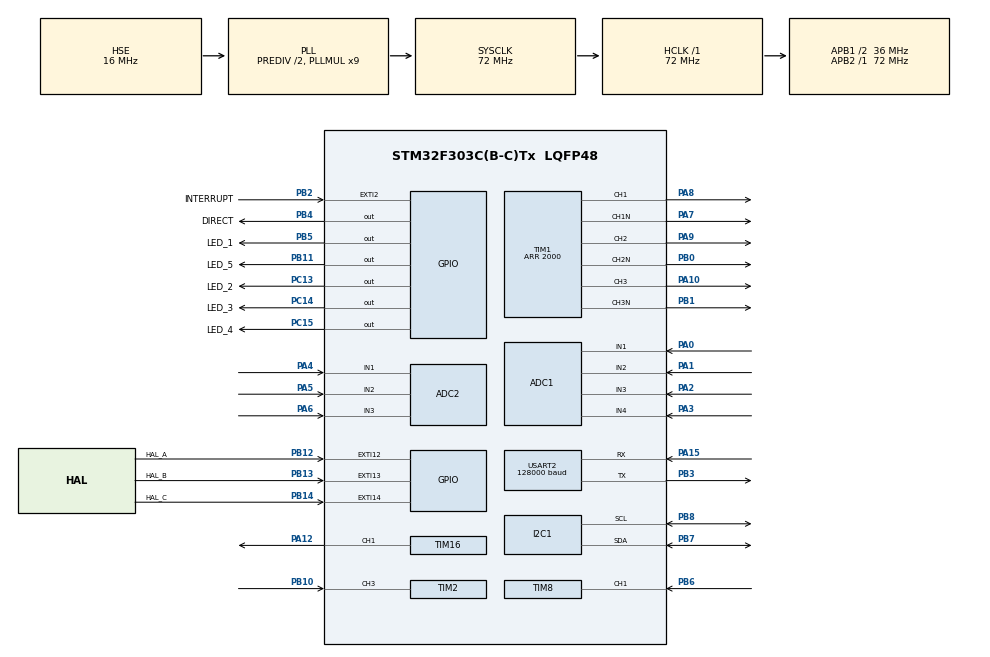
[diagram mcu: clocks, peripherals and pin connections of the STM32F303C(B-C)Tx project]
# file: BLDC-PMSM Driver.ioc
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ADC1.Channel-16\#ChannelRegularConversion=ADC_CHANNEL_1
ADC1.ClockPrescaler=ADC_CLOCK_SYNC_PCLK_DIV4
ADC1.ContinuousConvMode=DISABLE
ADC1.DMAContinuousRequests=DISABLE
ADC1.DiscontinuousConvMode=DISABLE
ADC1.EOCSelection=ADC_EOC_SINGLE_CONV
ADC1.EnableInjectedConversion=ENABLE
ADC1.EnableRegularConversion=ENABLE
ADC1.LowPowerAutoWait=DISABLE
ADC1.NbrOfConversion=1
ADC1.NbrOfConversionFlag=1
ADC1.Offset-16\#ChannelRegularConversion=0
ADC1.OffsetNumber-16\#ChannelRegularConversion=ADC_OFFSET_NONE
ADC1.Overrun=ADC_OVR_DATA_OVERWRITTEN
ADC1.Rank-16\#ChannelRegularConversion=1
ADC1.SamplingTime-16\#ChannelRegularConversion=ADC_SAMPLETIME_7CYCLES_5
ADC1.SamplingTimeOPAMP-16\#ChannelRegularConversion=ADC_SAMPLETIME_7CYCLES_5
ADC1.SequencerNbRanks=1
ADC1.master=1
ADC2.Channel-0\#ChannelRegularConversion=ADC_CHANNEL_1
ADC2.Channel-1\#ChannelRegularConversion=ADC_CHANNEL_2
ADC2.Channel-2\#ChannelRegularConversion=ADC_CHANNEL_3
ADC2.ClockPrescaler=ADC_CLOCK_SYNC_PCLK_DIV4
ADC2.ContinuousConvMode=ENABLE
ADC2.NbrOfConversion=3
ADC2.NbrOfConversionFlag=1
ADC2.Offset-0\#ChannelRegularConversion=0
ADC2.Offset-1\#ChannelRegularConversion=0
ADC2.Offset-2\#ChannelRegularConversion=0
ADC2.OffsetNumber-0\#ChannelRegularConversion=ADC_OFFSET_NONE
ADC2.OffsetNumber-1\#ChannelRegularConversion=ADC_OFFSET_NONE
ADC2.OffsetNumber-2\#ChannelRegularConversion=ADC_OFFSET_NONE
ADC2.Rank-0\#ChannelRegularConversion=1
ADC2.Rank-1\#ChannelRegularConversion=2
ADC2.Rank-2\#ChannelRegularConversion=3
ADC2.SamplingTime-0\#ChannelRegularConversion=ADC_SAMPLETIME_61CYCLES_5
ADC2.SamplingTime-1\#ChannelRegularConversion=ADC_SAMPLETIME_61CYCLES_5
ADC2.SamplingTime-2\#ChannelRegularConversion=ADC_SAMPLETIME_61CYCLES_5
ADC2.SamplingTimeOPAMP-1\#ChannelRegularConversion=ADC_SAMPLETIME_61CYCLES_5
ADC2.SamplingTimeOPAMP-2\#ChannelRegularConversion=ADC_SAMPLETIME_61CYCLES_5
ADC2.SequencerNbRanks=3
Dma.ADC2.0.Direction=DMA_PERIPH_TO_MEMORY
Dma.ADC2.0.Instance=DMA2_Channel1
Dma.ADC2.0.MemDataAlignment=DMA_MDATAALIGN_HALFWORD
Dma.ADC2.0.MemInc=DMA_MINC_ENABLE
Dma.ADC2.0.Mode=DMA_NORMAL
Dma.ADC2.0.PeriphDataAlignment=DMA_PDATAALIGN_HALFWORD
Dma.ADC2.0.PeriphInc=DMA_PINC_DISABLE
Dma.ADC2.0.Priority=DMA_PRIORITY_LOW
Dma.Request0=ADC2
Dma.Request1=USART2_RX
Dma.Request2=USART2_TX
Dma.USART2_RX.1.Direction=DMA_PERIPH_TO_MEMORY
Dma.USART2_RX.1.Instance=DMA1_Channel6
Dma.USART2_RX.1.MemDataAlignment=DMA_MDATAALIGN_BYTE
Dma.USART2_RX.1.MemInc=DMA_MINC_ENABLE
Dma.USART2_RX.1.Mode=DMA_NORMAL
Dma.USART2_RX.1.PeriphDataAlignment=DMA_PDATAALIGN_BYTE
Dma.USART2_RX.1.PeriphInc=DMA_PINC_DISABLE
Dma.USART2_RX.1.Priority=DMA_PRIORITY_HIGH
Dma.USART2_TX.2.Direction=DMA_MEMORY_TO_PERIPH
Dma.USART2_TX.2.Instance=DMA1_Channel7
Dma.USART2_TX.2.MemDataAlignment=DMA_MDATAALIGN_BYTE
Dma.USART2_TX.2.MemInc=DMA_MINC_ENABLE
Dma.USART2_TX.2.Mode=DMA_NORMAL
Dma.USART2_TX.2.PeriphDataAlignment=DMA_PDATAALIGN_BYTE
Dma.USART2_TX.2.PeriphInc=DMA_PINC_DISABLE
Dma.USART2_TX.2.Priority=DMA_PRIORITY_HIGH
Mcu.Family=STM32F3
Mcu.Name=STM32F303C(B-C)Tx
Mcu.Package=LQFP48
NVIC.DMA1_Channel6_IRQn=true\:6\:0\:true\:false\:true\:false\:true\:true
NVIC.DMA1_Channel7_IRQn=true\:2\:0\:true\:false\:true\:false\:true\:true
NVIC.DMA2_Channel1_IRQn=true\:0\:0\:false\:false\:true\:false\:true\:true
NVIC.EXTI15_10_IRQn=true\:0\:0\:false\:false\:true\:true\:true\:true
NVIC.EXTI2_TSC_IRQn=true\:0\:0\:false\:false\:true\:true\:true\:true
NVIC.PriorityGroup=NVIC_PRIORITYGROUP_4
NVIC.USART2_IRQn=true\:0\:0\:false\:false\:true\:true\:true\:true
PA0.Mode=IN1-Single-Ended
PA0.Signal=ADC1_IN1
PA1.Mode=IN2-Single-Ended
PA1.Signal=ADC1_IN2
PA10.Signal=S_TIM1_CH3
PA12.Signal=S_TIM16_CH1
PA13.Mode=Serial_Wire
PA13.Signal=SYS_JTMS-SWDIO
PA14.Mode=Serial_Wire
PA14.Signal=SYS_JTCK-SWCLK
PA15.Mode=Asynchronous
PA15.Signal=USART2_RX
PA2.Mode=IN3-Single-Ended
PA2.Signal=ADC1_IN3
PA3.Mode=IN4-Single-Ended
PA3.Signal=ADC1_IN4
PA4.Mode=IN1-Single-Ended
PA4.Signal=ADC2_IN1
PA5.Mode=IN2-Single-Ended
PA5.Signal=ADC2_IN2
PA6.Mode=IN3-Single-Ended
PA6.Signal=ADC2_IN3
PA7.Mode=PWM Generation1 CH1 CH1N
PA7.Signal=TIM1_CH1N
PA8.Signal=S_TIM1_CH1
PA9.Signal=S_TIM1_CH2
PB0.Mode=PWM Generation2 CH2 CH2N
PB0.Signal=TIM1_CH2N
PB1.Mode=PWM Generation3 CH3 CH3N
PB1.Signal=TIM1_CH3N
PB10.Signal=S_TIM2_CH3
PB11.GPIO_Label=LED_5
PB11.Signal=GPIO_Output
PB12.GPIO_Label=HAL_A
PB12.GPIO_ModeDefaultEXTI=GPIO_MODE_IT_RISING_FALLING
PB12.Signal=GPXTI12
PB13.GPIO_Label=HAL_B
PB13.GPIO_ModeDefaultEXTI=GPIO_MODE_IT_RISING_FALLING
PB13.Signal=GPXTI13
PB14.GPIO_Label=HAL_C
PB14.GPIO_ModeDefaultEXTI=GPIO_MODE_IT_RISING_FALLING
PB14.Signal=GPXTI14
PB2.GPIO_Label=INTERRUPT
PB2.GPIO_ModeDefaultEXTI=GPIO_MODE_IT_RISING_FALLING
PB2.Signal=GPXTI2
PB3.Mode=Asynchronous
PB3.Signal=USART2_TX
PB4.GPIO_Label=DIRECT
PB4.Signal=GPIO_Output
PB5.GPIO_Label=LED_1
PB5.Signal=GPIO_Output
PB6.Signal=S_TIM8_CH1
PB7.Mode=I2C
PB7.Signal=I2C1_SDA
PB8.Mode=I2C
PB8.Signal=I2C1_SCL
PC13.GPIO_Label=LED_2
PC13.Signal=GPIO_Output
PC14-OSC32_IN.GPIO_Label=LED_3
PC14-OSC32_IN.Signal=GPIO_Output
PC15-OSC32_OUT.GPIO_Label=LED_4
PC15-OSC32_OUT.Signal=GPIO_Output
PF0-OSC_IN.Mode=HSE-External-Oscillator
PF0-OSC_IN.Signal=RCC_OSC_IN
PF1-OSC_OUT.Mode=HSE-External-Oscillator
PF1-OSC_OUT.Signal=RCC_OSC_OUT
ProjectManager.HeapSize=0x200
ProjectManager.StackSize=0x400
ProjectManager.TargetToolchain=STM32CubeIDE
RCC.AHBFreq_Value=72000000
RCC.APB1CLKDivider=RCC_HCLK_DIV2
RCC.APB1Freq_Value=36000000
RCC.APB1TimFreq_Value=72000000
RCC.APB2Freq_Value=72000000
RCC.APB2TimFreq_Value=72000000
RCC.CortexFreq_Value=72000000
RCC.HCLKFreq_Value=72000000
RCC.HSE_VALUE=16000000
RCC.HSI_VALUE=8000000
RCC.LSE_VALUE=32768
RCC.PLLMUL=RCC_PLL_MUL9
RCC.PLLSourceVirtual=RCC_PLLSOURCE_HSE
RCC.RCC_PLLsource_Clock_Source_FROM_HSE=RCC_HSE_PREDIV_DIV2
RCC.SYSCLKFreq_VALUE=72000000
RCC.SYSCLKSourceVirtual=RCC_SYSCLKSOURCE_PLLCLK
RCC.USBFreq_Value=72000000
SH.S_TIM16_CH1.0=TIM16_CH1,PWM Generation1 CH1
SH.S_TIM1_CH1.0=TIM1_CH1,PWM Generation1 CH1 CH1N
SH.S_TIM1_CH2.0=TIM1_CH2,PWM Generation2 CH2 CH2N
SH.S_TIM1_CH3.0=TIM1_CH3,PWM Generation3 CH3 CH3N
SH.S_TIM2_CH3.0=TIM2_CH3,Input_Capture3_from_TI3
SH.S_TIM8_CH1.0=TIM8_CH1,Input_Capture1_from_TI1
TIM1.AutoReloadPreload=TIM_AUTORELOAD_PRELOAD_ENABLE
TIM1.Channel-PWM\ Generation1\ CH1\ CH1N=TIM_CHANNEL_1
TIM1.Channel-PWM\ Generation2\ CH2\ CH2N=TIM_CHANNEL_2
TIM1.Channel-PWM\ Generation3\ CH3\ CH3N=TIM_CHANNEL_3
TIM1.Period=2000
TIM1.Pulse-PWM\ Generation1\ CH1\ CH1N=1000
TIM1.Pulse-PWM\ Generation2\ CH2\ CH2N=1000
TIM1.Pulse-PWM\ Generation3\ CH3\ CH3N=1000
TIM16.AutoReloadPreload=TIM_AUTORELOAD_PRELOAD_ENABLE
TIM16.Channel=TIM_CHANNEL_1
TIM16.OCFastMode_PWM=TIM_OCFAST_ENABLE
TIM16.Period=1000
TIM16.Pulse=100
TIM2.Channel-Input_Capture3_from_TI3=TIM_CHANNEL_3
TIM2.Channel-Input_Capture4_from_TI3_63=TIM_CHANNEL_4
TIM2.ICPolarity_CH4=TIM_INPUTCHANNELPOLARITY_FALLING
TIM8.Channel-Input_Capture1_from_TI1=TIM_CHANNEL_1
TIM8.Channel-Input_Capture2_from_TI1_63=TIM_CHANNEL_2
TIM8.ICPolarity_CH2=TIM_INPUTCHANNELPOLARITY_FALLING
USART2.BaudRate=128000
USART2.VirtualMode-Asynchronous=VM_ASYNC
VP_ADC1_TempSens_Input.Mode=IN-TempSens
VP_ADC1_Vref_Input.Mode=IN-Vrefint
VP_TIM16_VS_ClockSourceINT.Mode=Enable_Timer
VP_TIM1_VS_ClockSourceINT.Mode=Internal
VP_TIM2_VS_ClockSourceINT.Mode=Internal
VP_TIM2_VS_indirect_ch3.Mode=Input_Capture4_from_TI3_63
VP_TIM8_VS_ClockSourceINT.Mode=Internal
VP_TIM8_VS_indirect_ch1.Mode=Input_Capture2_from_TI1_63
board=custom

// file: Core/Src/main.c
/* USER CODE BEGIN Header */
/**
  ******************************************************************************
  * @file           : main.c
  * @brief          : Main program body
  ******************************************************************************
  * @attention
  *
  * Copyright (c) 2024 STMicroelectronics.
  * All rights reserved.
  *
  * This software is licensed under terms that can be found in the LICENSE file
  * in the root directory of this software component.
  * If no LICENSE file comes with this software, it is provided AS-IS.
  *
  ******************************************************************************
  */
/* USER CODE END Header */
#include "main.h"

/* USER CODE BEGIN Includes */
#include "I2C_display.h"
#include "I2C_interface.h"
#include "modbusDevice.h"
#include "modbusSlave.h"
#include "ADC_1.h"
#include "Registers_handler.h"
#include "stdio.h"
#include "stdbool.h"
#include <stdint.h>
#include <stddef.h>
/* USER CODE END Includes */

ADC_HandleTypeDef hadc1;
ADC_HandleTypeDef hadc2;
DMA_HandleTypeDef hdma_adc2;

I2C_HandleTypeDef hi2c1;

TIM_HandleTypeDef htim1;
TIM_HandleTypeDef htim2;
TIM_HandleTypeDef htim8;
TIM_HandleTypeDef htim16;

UART_HandleTypeDef huart2;
DMA_HandleTypeDef hdma_usart2_rx;
DMA_HandleTypeDef hdma_usart2_tx;

/* USER CODE BEGIN PV */
bool BLDC_STATE[3] = {0,0,0};

int rpm=0;
bool flag=0;
 bool buttons_states[8];

 uint8_t adc_flag=0;

#define ADC_BUFFER_SIZE 64
#define RX_BUFFER_SIZE 64

#define USART_TIMEOUT 2000 // Таймаут в миллисекундах
 uint32_t lastActivityTime = 0;
 bool usartBusy = false;

uint16_t adc_buffer_1[ADC_BUFFER_SIZE];
uint32_t adc_values[6]={0, };

 uint8_t rxFrame[RX_BUFFER_SIZE];
 uint8_t txFrame[255];
 uint8_t SLAVE_ID=1;
 uint16_t data_reg[64]={0,};
 uint16_t rcv_data_reg[64]={0,};
/* USER CODE END PV */

void SystemClock_Config(void);
static void MX_GPIO_Init(void);
static void MX_DMA_Init(void);
static void MX_I2C1_Init(void);
static void MX_USART2_UART_Init(void);
static void MX_ADC1_Init(void);
static void MX_ADC2_Init(void);
static void MX_TIM1_Init(void);
static void MX_TIM16_Init(void);
static void MX_TIM2_Init(void);
static void MX_TIM8_Init(void);
/* USER CODE BEGIN PFP */
void Check_USART2_Timeout(void);
void Reset_USART2(void);
/* USER CODE END PFP */

/* USER CODE BEGIN 0 */
void Check_USART2_Timeout(void)
{
    if (HAL_GetTick() - lastActivityTime >= USART_TIMEOUT)
    {

        Reset_USART2();
    }
}

void Reset_USART2(void)
{
    // Остановите передачу и прием, если они активны
    HAL_UART_DMAStop(&huart2);
    HAL_DMA_Abort(&hdma_usart2_rx);
    HAL_DMA_Abort(&hdma_usart2_tx);

    // Отключите прерывания
    __HAL_UART_DISABLE_IT(&huart2, UART_IT_IDLE);
    __HAL_UART_DISABLE_IT(&huart2, UART_IT_TC);
    __HAL_UART_DISABLE_IT(&huart2, UART_IT_RXNE);

    // Сбросьте периферийный модуль USART2
    __HAL_RCC_USART2_FORCE_RESET();
    HAL_Delay(1); // Дождитесь завершения сброса
    __HAL_RCC_USART2_RELEASE_RESET();

    // �?нициализируйте периферийный модуль USART2 заново
   // HAL_UART_Init(&huart2);
    MX_DMA_Init();
    MX_USART2_UART_Init();
    // Настройте DMA и запустите прием
    HAL_UARTEx_ReceiveToIdle_DMA(&huart2, rxFrame, RX_BUFFER_SIZE);
    __HAL_UART_ENABLE_IT(&huart2, UART_IT_IDLE);
    __HAL_DMA_DISABLE_IT(&hdma_usart2_rx, DMA_IT_HT);

    // Обновление времени последней активности
    lastActivityTime = HAL_GetTick();

}

/* USER CODE END 0 */

int main(void)
{

  /* MCU Configuration--------------------------------------------------------*/

  /* Reset of all peripherals, Initializes the Flash interface and the Systick. */
  HAL_Init();

  /* Configure the system clock */
  SystemClock_Config();

  /* Initialize all configured peripherals */
  MX_GPIO_Init();
  MX_DMA_Init();
  MX_I2C1_Init();
  MX_USART2_UART_Init();
  MX_ADC1_Init();
  MX_ADC2_Init();
  MX_TIM1_Init();
  MX_TIM16_Init();
  MX_TIM2_Init();
  MX_TIM8_Init();
  /* USER CODE BEGIN 2 */

  TX_2;
  LED_1_ON;
 // LED_2_ON;
 // LED_3_ON;
 // LED_4_ON;
 // LED_5_ON;
  HAL_TIM_PWM_Start(&htim16, TIM_CHANNEL_1);

  lcd_init();
  lcd_clear();

         HAL_UARTEx_ReceiveToIdle_DMA(&huart2, rxFrame, RX_BUFFER_SIZE);
         __HAL_DMA_DISABLE_IT(&hdma_usart2_rx, DMA_IT_HT);

HAL_ADCEx_Calibration_Start(&hadc2, ADC_SINGLE_ENDED);
HAL_ADCEx_Calibration_Start(&hadc1, ADC_SINGLE_ENDED);
HAL_Delay(100);
RX_2;
     HAL_ADC_Start_DMA(&hadc2, (uint16_t*)adc_buffer_1,64);
  /* USER CODE END 2 */

  /* Infinite loop */
  /* USER CODE BEGIN WHILE */
  while (1)
  {
	  Check_USART2_Timeout();
	  if(adc_flag==1){

          MX_ADC1_Init();
		  Read_ADC_Values(adc_values, 6);
          Get_Buttons_States(buttons_states);
          data_reg[0]=170;
          data_reg[1]=63;
          data_reg[3]=31;
          data_reg[4]=25;
	  	         // lcd_set_cursor(1, 0);
	  	         // sprintf(int_to_str, "B1-%04d,B2-%04d ", adc_values[0],adc_values[1] );
	  	         // lcd_write_string(int_to_str);

                  IND_1_ON;
                  IND_2_ON;
                  IND_7_ON;

                  lcd_set_cursor(1, 0);
         	  	  sprintf(int_to_str, "%02X,%02X,%01X%01X,%01X,%01X,%04X", rxFrame[0],rxFrame[1],rxFrame[2],rxFrame[3],rxFrame[4] ,rxFrame[5],((rxFrame[6]<<8)|rxFrame[7]));
         	  	  lcd_write_string(int_to_str);

	  	          lcd_set_cursor(2, 0);
	  	          sprintf(int_to_str, "Vcc-%02.2f,B4-%04d ", adc_values[0]*0.166,adc_values[1] );
	  	          lcd_write_string(int_to_str);

	  	          lcd_set_cursor(3, 0);
	  	          sprintf(int_to_str, "B5-%04d,B6-%04d ", adc_values[4],adc_values[5] );
	  	          lcd_write_string(int_to_str);

	  	          lcd_set_cursor(4, 0);
	  	          sprintf(int_to_str, "B7-%04d,B8-%04d ", adc_buffer_1[0],adc_buffer_1[1] );
	  	          lcd_write_string(int_to_str);

	  	          adc_buffer_1[0]=0;
	  	          adc_buffer_1[1]=0;
	  	          adc_buffer_1[2]=0;
	  	          adc_buffer_1[3]=0;

 		          adc_flag=0;
	  		      HAL_ADC_Start_DMA(&hadc2, (uint16_t*)adc_buffer_1, 64);     }

    /* USER CODE END WHILE */

  }
}

void SystemClock_Config(void)
{
  RCC_OscInitTypeDef RCC_OscInitStruct = {0};
  RCC_ClkInitTypeDef RCC_ClkInitStruct = {0};
  RCC_PeriphCLKInitTypeDef PeriphClkInit = {0};

  /** Initializes the RCC Oscillators according to the specified parameters
  * in the RCC_OscInitTypeDef structure.
  */
  RCC_OscInitStruct.OscillatorType = RCC_OSCILLATORTYPE_HSI|RCC_OSCILLATORTYPE_HSE;
  RCC_OscInitStruct.HSEState = RCC_HSE_ON;
  RCC_OscInitStruct.HSEPredivValue = RCC_HSE_PREDIV_DIV2;
  RCC_OscInitStruct.HSIState = RCC_HSI_ON;
  RCC_OscInitStruct.HSICalibrationValue = RCC_HSICALIBRATION_DEFAULT;
  RCC_OscInitStruct.PLL.PLLState = RCC_PLL_ON;
  RCC_OscInitStruct.PLL.PLLSource = RCC_PLLSOURCE_HSE;
  RCC_OscInitStruct.PLL.PLLMUL = RCC_PLL_MUL9;
  if (HAL_RCC_OscConfig(&RCC_OscInitStruct) != HAL_OK)
  {
    Error_Handler();
  }

  /** Initializes the CPU, AHB and APB buses clocks
  */
  RCC_ClkInitStruct.ClockType = RCC_CLOCKTYPE_HCLK|RCC_CLOCKTYPE_SYSCLK
                              |RCC_CLOCKTYPE_PCLK1|RCC_CLOCKTYPE_PCLK2;
  RCC_ClkInitStruct.SYSCLKSource = RCC_SYSCLKSOURCE_PLLCLK;
  RCC_ClkInitStruct.AHBCLKDivider = RCC_SYSCLK_DIV1;
  RCC_ClkInitStruct.APB1CLKDivider = RCC_HCLK_DIV2;
  RCC_ClkInitStruct.APB2CLKDivider = RCC_HCLK_DIV1;

  if (HAL_RCC_ClockConfig(&RCC_ClkInitStruct, FLASH_LATENCY_2) != HAL_OK)
  {
    Error_Handler();
  }
  PeriphClkInit.PeriphClockSelection = RCC_PERIPHCLK_USART2|RCC_PERIPHCLK_I2C1
                              |RCC_PERIPHCLK_TIM1|RCC_PERIPHCLK_TIM8;
  PeriphClkInit.Usart2ClockSelection = RCC_USART2CLKSOURCE_PCLK1;
  PeriphClkInit.I2c1ClockSelection = RCC_I2C1CLKSOURCE_HSI;
  PeriphClkInit.Tim1ClockSelection = RCC_TIM1CLK_HCLK;
  PeriphClkInit.Tim8ClockSelection = RCC_TIM8CLK_HCLK;
  if (HAL_RCCEx_PeriphCLKConfig(&PeriphClkInit) != HAL_OK)
  {
    Error_Handler();
  }
}

static void MX_ADC1_Init(void)
{

  ADC_MultiModeTypeDef multimode = {0};
  ADC_ChannelConfTypeDef sConfig = {0};

  /** Common config
  */
  hadc1.Instance = ADC1;
  hadc1.Init.ClockPrescaler = ADC_CLOCK_SYNC_PCLK_DIV4;
  hadc1.Init.Resolution = ADC_RESOLUTION_12B;
  hadc1.Init.ScanConvMode = ADC_SCAN_DISABLE;
  hadc1.Init.ContinuousConvMode = DISABLE;
  hadc1.Init.DiscontinuousConvMode = DISABLE;
  hadc1.Init.ExternalTrigConvEdge = ADC_EXTERNALTRIGCONVEDGE_NONE;
  hadc1.Init.ExternalTrigConv = ADC_SOFTWARE_START;
  hadc1.Init.DataAlign = ADC_DATAALIGN_RIGHT;
  hadc1.Init.NbrOfConversion = 1;
  hadc1.Init.DMAContinuousRequests = DISABLE;
  hadc1.Init.EOCSelection = ADC_EOC_SINGLE_CONV;
  hadc1.Init.LowPowerAutoWait = DISABLE;
  hadc1.Init.Overrun = ADC_OVR_DATA_OVERWRITTEN;
  if (HAL_ADC_Init(&hadc1) != HAL_OK)
  {
    Error_Handler();
  }

  /** Configure the ADC multi-mode
  */
  multimode.Mode = ADC_MODE_INDEPENDENT;
  if (HAL_ADCEx_MultiModeConfigChannel(&hadc1, &multimode) != HAL_OK)
  {
    Error_Handler();
  }

  /** Configure Regular Channel
  */
  sConfig.Channel = ADC_CHANNEL_1;
  sConfig.Rank = ADC_REGULAR_RANK_1;
  sConfig.SingleDiff = ADC_SINGLE_ENDED;
  sConfig.SamplingTime = ADC_SAMPLETIME_7CYCLES_5;
  sConfig.OffsetNumber = ADC_OFFSET_NONE;
  sConfig.Offset = 0;
  if (HAL_ADC_ConfigChannel(&hadc1, &sConfig) != HAL_OK)
  {
    Error_Handler();
  }

}

static void MX_ADC2_Init(void)
{

  ADC_ChannelConfTypeDef sConfig = {0};

  /** Common config
  */
  hadc2.Instance = ADC2;
  hadc2.Init.ClockPrescaler = ADC_CLOCK_SYNC_PCLK_DIV4;
  hadc2.Init.Resolution = ADC_RESOLUTION_12B;
  hadc2.Init.ScanConvMode = ADC_SCAN_ENABLE;
  hadc2.Init.ContinuousConvMode = ENABLE;
  hadc2.Init.DiscontinuousConvMode = DISABLE;
  hadc2.Init.ExternalTrigConvEdge = ADC_EXTERNALTRIGCONVEDGE_NONE;
  hadc2.Init.ExternalTrigConv = ADC_SOFTWARE_START;
  hadc2.Init.DataAlign = ADC_DATAALIGN_RIGHT;
  hadc2.Init.NbrOfConversion = 3;
  hadc2.Init.DMAContinuousRequests = DISABLE;
  hadc2.Init.EOCSelection = ADC_EOC_SINGLE_CONV;
  hadc2.Init.LowPowerAutoWait = DISABLE;
  hadc2.Init.Overrun = ADC_OVR_DATA_OVERWRITTEN;
  if (HAL_ADC_Init(&hadc2) != HAL_OK)
  {
    Error_Handler();
  }

  /** Configure Regular Channel
  */
  sConfig.Channel = ADC_CHANNEL_1;
  sConfig.Rank = ADC_REGULAR_RANK_1;
  sConfig.SingleDiff = ADC_SINGLE_ENDED;
  sConfig.SamplingTime = ADC_SAMPLETIME_61CYCLES_5;
  sConfig.OffsetNumber = ADC_OFFSET_NONE;
  sConfig.Offset = 0;
  if (HAL_ADC_ConfigChannel(&hadc2, &sConfig) != HAL_OK)
  {
    Error_Handler();
  }

  /** Configure Regular Channel
  */
  sConfig.Channel = ADC_CHANNEL_2;
  sConfig.Rank = ADC_REGULAR_RANK_2;
  if (HAL_ADC_ConfigChannel(&hadc2, &sConfig) != HAL_OK)
  {
    Error_Handler();
  }

  /** Configure Regular Channel
  */
  sConfig.Channel = ADC_CHANNEL_3;
  sConfig.Rank = ADC_REGULAR_RANK_3;
  if (HAL_ADC_ConfigChannel(&hadc2, &sConfig) != HAL_OK)
  {
    Error_Handler();
  }

}

static void MX_I2C1_Init(void)
{

  hi2c1.Instance = I2C1;
  hi2c1.Init.Timing = 0x2000090E;
  hi2c1.Init.OwnAddress1 = 0;
  hi2c1.Init.AddressingMode = I2C_ADDRESSINGMODE_7BIT;
  hi2c1.Init.DualAddressMode = I2C_DUALADDRESS_DISABLE;
  hi2c1.Init.OwnAddress2 = 0;
  hi2c1.Init.OwnAddress2Masks = I2C_OA2_NOMASK;
  hi2c1.Init.GeneralCallMode = I2C_GENERALCALL_DISABLE;
  hi2c1.Init.NoStretchMode = I2C_NOSTRETCH_DISABLE;
  if (HAL_I2C_Init(&hi2c1) != HAL_OK)
  {
    Error_Handler();
  }

  /** Configure Analogue filter
  */
  if (HAL_I2CEx_ConfigAnalogFilter(&hi2c1, I2C_ANALOGFILTER_ENABLE) != HAL_OK)
  {
    Error_Handler();
  }

  /** Configure Digital filter
  */
  if (HAL_I2CEx_ConfigDigitalFilter(&hi2c1, 0) != HAL_OK)
  {
    Error_Handler();
  }

}

static void MX_TIM1_Init(void)
{

  TIM_ClockConfigTypeDef sClockSourceConfig = {0};
  TIM_MasterConfigTypeDef sMasterConfig = {0};
  TIM_OC_InitTypeDef sConfigOC = {0};
  TIM_BreakDeadTimeConfigTypeDef sBreakDeadTimeConfig = {0};

  htim1.Instance = TIM1;
  htim1.Init.Prescaler = 0;
  htim1.Init.CounterMode = TIM_COUNTERMODE_UP;
  htim1.Init.Period = 2000;
  htim1.Init.ClockDivision = TIM_CLOCKDIVISION_DIV1;
  htim1.Init.RepetitionCounter = 0;
  htim1.Init.AutoReloadPreload = TIM_AUTORELOAD_PRELOAD_ENABLE;
  if (HAL_TIM_Base_Init(&htim1) != HAL_OK)
  {
    Error_Handler();
  }
  sClockSourceConfig.ClockSource = TIM_CLOCKSOURCE_INTERNAL;
  if (HAL_TIM_ConfigClockSource(&htim1, &sClockSourceConfig) != HAL_OK)
  {
    Error_Handler();
  }
  if (HAL_TIM_PWM_Init(&htim1) != HAL_OK)
  {
    Error_Handler();
  }
  sMasterConfig.MasterOutputTrigger = TIM_TRGO_RESET;
  sMasterConfig.MasterOutputTrigger2 = TIM_TRGO2_RESET;
  sMasterConfig.MasterSlaveMode = TIM_MASTERSLAVEMODE_DISABLE;
  if (HAL_TIMEx_MasterConfigSynchronization(&htim1, &sMasterConfig) != HAL_OK)
  {
    Error_Handler();
  }
  sConfigOC.OCMode = TIM_OCMODE_PWM1;
  sConfigOC.Pulse = 1000;
  sConfigOC.OCPolarity = TIM_OCPOLARITY_HIGH;
  sConfigOC.OCNPolarity = TIM_OCNPOLARITY_HIGH;
  sConfigOC.OCFastMode = TIM_OCFAST_DISABLE;
  sConfigOC.OCIdleState = TIM_OCIDLESTATE_RESET;
  sConfigOC.OCNIdleState = TIM_OCNIDLESTATE_RESET;
  if (HAL_TIM_PWM_ConfigChannel(&htim1, &sConfigOC, TIM_CHANNEL_1) != HAL_OK)
  {
    Error_Handler();
  }
  if (HAL_TIM_PWM_ConfigChannel(&htim1, &sConfigOC, TIM_CHANNEL_2) != HAL_OK)
  {
    Error_Handler();
  }
  if (HAL_TIM_PWM_ConfigChannel(&htim1, &sConfigOC, TIM_CHANNEL_3) != HAL_OK)
  {
    Error_Handler();
  }
  sBreakDeadTimeConfig.OffStateRunMode = TIM_OSSR_DISABLE;
  sBreakDeadTimeConfig.OffStateIDLEMode = TIM_OSSI_DISABLE;
  sBreakDeadTimeConfig.LockLevel = TIM_LOCKLEVEL_OFF;
  sBreakDeadTimeConfig.DeadTime = 0;
  sBreakDeadTimeConfig.BreakState = TIM_BREAK_DISABLE;
  sBreakDeadTimeConfig.BreakPolarity = TIM_BREAKPOLARITY_HIGH;
  sBreakDeadTimeConfig.BreakFilter = 0;
  sBreakDeadTimeConfig.Break2State = TIM_BREAK2_DISABLE;
  sBreakDeadTimeConfig.Break2Polarity = TIM_BREAK2POLARITY_HIGH;
  sBreakDeadTimeConfig.Break2Filter = 0;
  sBreakDeadTimeConfig.AutomaticOutput = TIM_AUTOMATICOUTPUT_DISABLE;
  if (HAL_TIMEx_ConfigBreakDeadTime(&htim1, &sBreakDeadTimeConfig) != HAL_OK)
  {
    Error_Handler();
  }
  HAL_TIM_MspPostInit(&htim1);

}

static void MX_TIM2_Init(void)
{

  TIM_ClockConfigTypeDef sClockSourceConfig = {0};
  TIM_MasterConfigTypeDef sMasterConfig = {0};
  TIM_IC_InitTypeDef sConfigIC = {0};

  htim2.Instance = TIM2;
  htim2.Init.Prescaler = 0;
  htim2.Init.CounterMode = TIM_COUNTERMODE_UP;
  htim2.Init.Period = 4294967295;
  htim2.Init.ClockDivision = TIM_CLOCKDIVISION_DIV1;
  htim2.Init.AutoReloadPreload = TIM_AUTORELOAD_PRELOAD_DISABLE;
  if (HAL_TIM_Base_Init(&htim2) != HAL_OK)
  {
    Error_Handler();
  }
  sClockSourceConfig.ClockSource = TIM_CLOCKSOURCE_INTERNAL;
  if (HAL_TIM_ConfigClockSource(&htim2, &sClockSourceConfig) != HAL_OK)
  {
    Error_Handler();
  }
  if (HAL_TIM_IC_Init(&htim2) != HAL_OK)
  {
    Error_Handler();
  }
  sMasterConfig.MasterOutputTrigger = TIM_TRGO_RESET;
  sMasterConfig.MasterSlaveMode = TIM_MASTERSLAVEMODE_DISABLE;
  if (HAL_TIMEx_MasterConfigSynchronization(&htim2, &sMasterConfig) != HAL_OK)
  {
    Error_Handler();
  }
  sConfigIC.ICPolarity = TIM_INPUTCHANNELPOLARITY_RISING;
  sConfigIC.ICSelection = TIM_ICSELECTION_DIRECTTI;
  sConfigIC.ICPrescaler = TIM_ICPSC_DIV1;
  sConfigIC.ICFilter = 0;
  if (HAL_TIM_IC_ConfigChannel(&htim2, &sConfigIC, TIM_CHANNEL_3) != HAL_OK)
  {
    Error_Handler();
  }
  sConfigIC.ICPolarity = TIM_INPUTCHANNELPOLARITY_FALLING;
  sConfigIC.ICSelection = TIM_ICSELECTION_INDIRECTTI;
  if (HAL_TIM_IC_ConfigChannel(&htim2, &sConfigIC, TIM_CHANNEL_4) != HAL_OK)
  {
    Error_Handler();
  }

}

static void MX_TIM8_Init(void)
{

  TIM_ClockConfigTypeDef sClockSourceConfig = {0};
  TIM_MasterConfigTypeDef sMasterConfig = {0};
  TIM_IC_InitTypeDef sConfigIC = {0};

  htim8.Instance = TIM8;
  htim8.Init.Prescaler = 0;
  htim8.Init.CounterMode = TIM_COUNTERMODE_UP;
  htim8.Init.Period = 65535;
  htim8.Init.ClockDivision = TIM_CLOCKDIVISION_DIV1;
  htim8.Init.RepetitionCounter = 0;
  htim8.Init.AutoReloadPreload = TIM_AUTORELOAD_PRELOAD_DISABLE;
  if (HAL_TIM_Base_Init(&htim8) != HAL_OK)
  {
    Error_Handler();
  }
  sClockSourceConfig.ClockSource = TIM_CLOCKSOURCE_INTERNAL;
  if (HAL_TIM_ConfigClockSource(&htim8, &sClockSourceConfig) != HAL_OK)
  {
    Error_Handler();
  }
  if (HAL_TIM_IC_Init(&htim8) != HAL_OK)
  {
    Error_Handler();
  }
  sMasterConfig.MasterOutputTrigger = TIM_TRGO_RESET;
  sMasterConfig.MasterOutputTrigger2 = TIM_TRGO2_RESET;
  sMasterConfig.MasterSlaveMode = TIM_MASTERSLAVEMODE_DISABLE;
  if (HAL_TIMEx_MasterConfigSynchronization(&htim8, &sMasterConfig) != HAL_OK)
  {
    Error_Handler();
  }
  sConfigIC.ICPolarity = TIM_INPUTCHANNELPOLARITY_RISING;
  sConfigIC.ICSelection = TIM_ICSELECTION_DIRECTTI;
  sConfigIC.ICPrescaler = TIM_ICPSC_DIV1;
  sConfigIC.ICFilter = 0;
  if (HAL_TIM_IC_ConfigChannel(&htim8, &sConfigIC, TIM_CHANNEL_1) != HAL_OK)
  {
    Error_Handler();
  }
  sConfigIC.ICPolarity = TIM_INPUTCHANNELPOLARITY_FALLING;
  sConfigIC.ICSelection = TIM_ICSELECTION_INDIRECTTI;
  if (HAL_TIM_IC_ConfigChannel(&htim8, &sConfigIC, TIM_CHANNEL_2) != HAL_OK)
  {
    Error_Handler();
  }

}

static void MX_TIM16_Init(void)
{

  TIM_OC_InitTypeDef sConfigOC = {0};
  TIM_BreakDeadTimeConfigTypeDef sBreakDeadTimeConfig = {0};

  htim16.Instance = TIM16;
  htim16.Init.Prescaler = 0;
  htim16.Init.CounterMode = TIM_COUNTERMODE_UP;
  htim16.Init.Period = 1000;
  htim16.Init.ClockDivision = TIM_CLOCKDIVISION_DIV1;
  htim16.Init.RepetitionCounter = 0;
  htim16.Init.AutoReloadPreload = TIM_AUTORELOAD_PRELOAD_ENABLE;
  if (HAL_TIM_Base_Init(&htim16) != HAL_OK)
  {
    Error_Handler();
  }
  if (HAL_TIM_PWM_Init(&htim16) != HAL_OK)
  {
    Error_Handler();
  }
  sConfigOC.OCMode = TIM_OCMODE_PWM1;
  sConfigOC.Pulse = 100;
  sConfigOC.OCPolarity = TIM_OCPOLARITY_HIGH;
  sConfigOC.OCNPolarity = TIM_OCNPOLARITY_HIGH;
  sConfigOC.OCFastMode = TIM_OCFAST_ENABLE;
  sConfigOC.OCIdleState = TIM_OCIDLESTATE_RESET;
  sConfigOC.OCNIdleState = TIM_OCNIDLESTATE_RESET;
  if (HAL_TIM_PWM_ConfigChannel(&htim16, &sConfigOC, TIM_CHANNEL_1) != HAL_OK)
  {
    Error_Handler();
  }
  sBreakDeadTimeConfig.OffStateRunMode = TIM_OSSR_DISABLE;
  sBreakDeadTimeConfig.OffStateIDLEMode = TIM_OSSI_DISABLE;
  sBreakDeadTimeConfig.LockLevel = TIM_LOCKLEVEL_OFF;
  sBreakDeadTimeConfig.DeadTime = 0;
  sBreakDeadTimeConfig.BreakState = TIM_BREAK_DISABLE;
  sBreakDeadTimeConfig.BreakPolarity = TIM_BREAKPOLARITY_HIGH;
  sBreakDeadTimeConfig.BreakFilter = 0;
  sBreakDeadTimeConfig.AutomaticOutput = TIM_AUTOMATICOUTPUT_DISABLE;
  if (HAL_TIMEx_ConfigBreakDeadTime(&htim16, &sBreakDeadTimeConfig) != HAL_OK)
  {
    Error_Handler();
  }
  HAL_TIM_MspPostInit(&htim16);

}

static void MX_USART2_UART_Init(void)
{

  huart2.Instance = USART2;
  huart2.Init.BaudRate = 128000;
  huart2.Init.WordLength = UART_WORDLENGTH_8B;
  huart2.Init.StopBits = UART_STOPBITS_1;
  huart2.Init.Parity = UART_PARITY_NONE;
  huart2.Init.Mode = UART_MODE_TX_RX;
  huart2.Init.HwFlowCtl = UART_HWCONTROL_NONE;
  huart2.Init.OverSampling = UART_OVERSAMPLING_16;
  huart2.Init.OneBitSampling = UART_ONE_BIT_SAMPLE_DISABLE;
  huart2.AdvancedInit.AdvFeatureInit = UART_ADVFEATURE_NO_INIT;
  if (HAL_UART_Init(&huart2) != HAL_OK)
  {
    Error_Handler();
  }

}

static void MX_DMA_Init(void)
{

  /* DMA controller clock enable */
  __HAL_RCC_DMA2_CLK_ENABLE();
  __HAL_RCC_DMA1_CLK_ENABLE();

  /* DMA interrupt init */
  /* DMA1_Channel6_IRQn interrupt configuration */
  HAL_NVIC_SetPriority(DMA1_Channel6_IRQn, 6, 0);
  HAL_NVIC_EnableIRQ(DMA1_Channel6_IRQn);
  /* DMA1_Channel7_IRQn interrupt configuration */
  HAL_NVIC_SetPriority(DMA1_Channel7_IRQn, 2, 0);
  HAL_NVIC_EnableIRQ(DMA1_Channel7_IRQn);
  /* DMA2_Channel1_IRQn interrupt configuration */
  HAL_NVIC_SetPriority(DMA2_Channel1_IRQn, 0, 0);
  HAL_NVIC_EnableIRQ(DMA2_Channel1_IRQn);

}

static void MX_GPIO_Init(void)
{
  GPIO_InitTypeDef GPIO_InitStruct = {0};

  /* GPIO Ports Clock Enable */
  __HAL_RCC_GPIOC_CLK_ENABLE();
  __HAL_RCC_GPIOF_CLK_ENABLE();
  __HAL_RCC_GPIOA_CLK_ENABLE();
  __HAL_RCC_GPIOB_CLK_ENABLE();

  /*Configure GPIO pin Output Level */
  HAL_GPIO_WritePin(GPIOC, LED_2_Pin|LED_3_Pin|LED_4_Pin, GPIO_PIN_RESET);

  /*Configure GPIO pin Output Level */
  HAL_GPIO_WritePin(GPIOB, LED_5_Pin|DIRECT_Pin|LED_1_Pin, GPIO_PIN_RESET);

  /*Configure GPIO pins : LED_2_Pin LED_3_Pin LED_4_Pin */
  GPIO_InitStruct.Pin = LED_2_Pin|LED_3_Pin|LED_4_Pin;
  GPIO_InitStruct.Mode = GPIO_MODE_OUTPUT_PP;
  GPIO_InitStruct.Pull = GPIO_NOPULL;
  GPIO_InitStruct.Speed = GPIO_SPEED_FREQ_LOW;
  HAL_GPIO_Init(GPIOC, &GPIO_InitStruct);

  /*Configure GPIO pins : INTERRUPT_Pin HAL_A_Pin HAL_B_Pin HAL_C_Pin */
  GPIO_InitStruct.Pin = INTERRUPT_Pin|HAL_A_Pin|HAL_B_Pin|HAL_C_Pin;
  GPIO_InitStruct.Mode = GPIO_MODE_IT_RISING_FALLING;
  GPIO_InitStruct.Pull = GPIO_NOPULL;
  HAL_GPIO_Init(GPIOB, &GPIO_InitStruct);

  /*Configure GPIO pins : LED_5_Pin DIRECT_Pin LED_1_Pin */
  GPIO_InitStruct.Pin = LED_5_Pin|DIRECT_Pin|LED_1_Pin;
  GPIO_InitStruct.Mode = GPIO_MODE_OUTPUT_PP;
  GPIO_InitStruct.Pull = GPIO_NOPULL;
  GPIO_InitStruct.Speed = GPIO_SPEED_FREQ_LOW;
  HAL_GPIO_Init(GPIOB, &GPIO_InitStruct);

  /* EXTI interrupt init*/
  HAL_NVIC_SetPriority(EXTI2_TSC_IRQn, 0, 0);
  HAL_NVIC_EnableIRQ(EXTI2_TSC_IRQn);

  HAL_NVIC_SetPriority(EXTI15_10_IRQn, 0, 0);
  HAL_NVIC_EnableIRQ(EXTI15_10_IRQn);

}

/* USER CODE BEGIN 4 */

void HAL_GPIO_EXTI_Callback(uint16_t GPIO_Pin)
{
	if(GPIO_Pin == GPIO_PIN_12) // если прерывание поступило от ножки PA1
	   {
		if (GPIO_PIN_SET == HAL_GPIO_ReadPin (GPIOB, GPIO_PIN_12)){

				   LED_1_ON;
				   BLDC_STATE[0]=0;
				   BLDC_MotorCommutation(SWITCH(BLDC_STATE));
			   }

		     if (GPIO_PIN_RESET == HAL_GPIO_ReadPin (GPIOB, GPIO_PIN_12)){
		           LED_1_OFF;
		    	   BLDC_STATE[0]=1;
		    	   BLDC_MotorCommutation(SWITCH(BLDC_STATE));}
		         //  EXTI->PR = EXTI_PR_PR12;

	   }

   if(GPIO_Pin == GPIO_PIN_13) // если прерывание поступило от ножки PC13
   {

	   if (GPIO_PIN_SET == HAL_GPIO_ReadPin (GPIOB, GPIO_PIN_13)){
              LED_2_ON;
	      	  BLDC_STATE[1]=0;
	      	  BLDC_MotorCommutation(SWITCH(BLDC_STATE));}

       if (GPIO_PIN_RESET == HAL_GPIO_ReadPin (GPIOB, GPIO_PIN_13)){
              LED_2_OFF;
    	      BLDC_STATE[1]=1;
    	      BLDC_MotorCommutation(SWITCH(BLDC_STATE)); }
             // EXTI->PR = EXTI_PR_PR13;
         }

   if(GPIO_Pin == GPIO_PIN_14) // если прерывание поступило от ножки PC14
     {

	   if (GPIO_PIN_SET == HAL_GPIO_ReadPin (GPIOB, GPIO_PIN_14)){
           LED_3_ON;
		   BLDC_STATE[2]=0;
		   BLDC_MotorCommutation(SWITCH(BLDC_STATE));}

	   if (GPIO_PIN_RESET == HAL_GPIO_ReadPin (GPIOB, GPIO_PIN_14)){
           LED_3_OFF;
		   BLDC_STATE[2]=1;
		   BLDC_MotorCommutation(SWITCH(BLDC_STATE));}
	       //EXTI->PR = EXTI_PR_PR14;
       }

   if(GPIO_Pin == GPIO_PIN_2) // если прерывание поступило от ножки PB_5
      {
	   if (GPIO_PIN_SET == HAL_GPIO_ReadPin (GPIOB, GPIO_PIN_2)){

		   LED_4_ON;
		   Get_Buttons_States(buttons_states);

	   }

     if (GPIO_PIN_RESET == HAL_GPIO_ReadPin (GPIOB, GPIO_PIN_2)){
           LED_4_OFF;

         //  EXTI->PR = EXTI_PR_PR5;
            }

        }
}
void HAL_UART_TxCpltCallback(UART_HandleTypeDef *huart)

{

	    RX_2;
	    lastActivityTime = HAL_GetTick();
	    HAL_UARTEx_ReceiveToIdle_DMA(&huart2, rxFrame,RX_BUFFER_SIZE);
	    __HAL_UART_ENABLE_IT(&huart2, UART_IT_IDLE);
	    __HAL_DMA_DISABLE_IT(&hdma_usart2_rx, DMA_IT_HT);
	    LED_2_OFF;
}

void HAL_UARTEx_RxEventCallback(UART_HandleTypeDef *huart, uint16_t Size)
{
	if (huart->Instance == USART2)
	{
		lastActivityTime = HAL_GetTick();
		LED_2_ON;

	    __HAL_UART_DISABLE_IT(&huart2, UART_IT_IDLE);

	    HAL_DMA_Abort(&hdma_usart2_rx);

	    Registers_handler(rxFrame, data_reg, rcv_data_reg);

	}
}
void HAL_ADC_ConvCpltCallback(ADC_HandleTypeDef* hadc) {

    if(hadc->Instance == ADC2) {

        HAL_ADC_Stop_DMA(&hadc2);

              adc_flag = 1;

    }

}
/*
void HAL_ADC_ConvHalfCpltCallback(ADC_HandleTypeDef* hadc) {
    // Пустая функция или можно оставить её пустой
}
*/
/* USER CODE END 4 */

void Error_Handler(void)
{
  /* USER CODE BEGIN Error_Handler_Debug */
  /* User can add his own implementation to report the HAL error return state */
  __disable_irq();
  while (1)
  {

	//  LED_2_ON;
  }
  /* USER CODE END Error_Handler_Debug */
}
